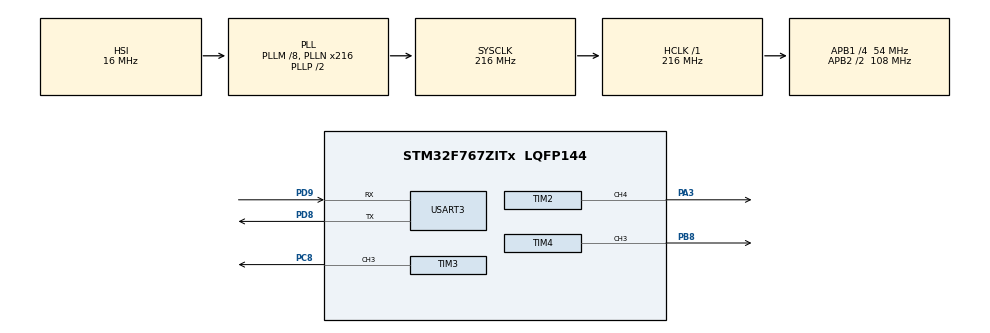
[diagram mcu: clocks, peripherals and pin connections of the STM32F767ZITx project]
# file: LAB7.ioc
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Mcu.Family=STM32F7
Mcu.Name=STM32F767ZITx
Mcu.Package=LQFP144
NVIC.PriorityGroup=NVIC_PRIORITYGROUP_4
PA3.GPIO_Speed=GPIO_SPEED_FREQ_VERY_HIGH
PA3.Signal=S_TIM2_CH4
PB8.GPIO_Speed=GPIO_SPEED_FREQ_VERY_HIGH
PB8.Signal=S_TIM4_CH3
PC8.GPIO_Speed=GPIO_SPEED_FREQ_VERY_HIGH
PC8.Signal=S_TIM3_CH3
PD8.Mode=Asynchronous
PD8.Signal=USART3_TX
PD9.Mode=Asynchronous
PD9.Signal=USART3_RX
ProjectManager.HeapSize=0x200
ProjectManager.StackSize=0x400
ProjectManager.TargetToolchain=STM32CubeIDE
RCC.AHBFreq_Value=216000000
RCC.APB1CLKDivider=RCC_HCLK_DIV4
RCC.APB1Freq_Value=54000000
RCC.APB1TimFreq_Value=108000000
RCC.APB2CLKDivider=RCC_HCLK_DIV2
RCC.APB2Freq_Value=108000000
RCC.APB2TimFreq_Value=216000000
RCC.CortexFreq_Value=216000000
RCC.HCLKFreq_Value=216000000
RCC.HSE_VALUE=25000000
RCC.HSI_VALUE=16000000
RCC.LSE_VALUE=32768
RCC.PLLM=8
RCC.PLLN=216
RCC.SYSCLKFreq_VALUE=216000000
RCC.SYSCLKSource=RCC_SYSCLKSOURCE_PLLCLK
RCC.USBFreq_Value=216000000
RCC.VCOOutputFreq_Value=432000000
SH.S_TIM2_CH4.0=TIM2_CH4,PWM Generation4 CH4
SH.S_TIM3_CH3.0=TIM3_CH3,PWM Generation3 CH3
SH.S_TIM4_CH3.0=TIM4_CH3,PWM Generation3 CH3
TIM2.Channel-PWM\ Generation4\ CH4=TIM_CHANNEL_4
TIM2.Period=10000-1
TIM2.Prescaler=10-1
TIM2.Pulse-PWM\ Generation4\ CH4=10000/4-1
TIM3.Channel-PWM\ Generation3\ CH3=TIM_CHANNEL_3
TIM3.Period=10000-1
TIM3.Prescaler=10-1
TIM3.Pulse-PWM\ Generation3\ CH3=10000/4-1
TIM4.Channel-PWM\ Generation3\ CH3=TIM_CHANNEL_3
TIM4.Period=10000-1
TIM4.Prescaler=10-1
TIM4.Pulse-PWM\ Generation3\ CH3=10000/4-1
USART3.VirtualMode-Asynchronous=VM_ASYNC
VP_TIM2_VS_ClockSourceINT.Mode=Internal
VP_TIM3_VS_ClockSourceINT.Mode=Internal
VP_TIM4_VS_ClockSourceINT.Mode=Internal
board=custom

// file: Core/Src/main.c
/* USER CODE BEGIN Header */
/**
  ******************************************************************************
  * @file           : main.c
  * @brief          : Main program body
  ******************************************************************************
  * @attention
  *
  * Copyright (c) 2023 STMicroelectronics.
  * All rights reserved.
  *
  * This software is licensed under terms that can be found in the LICENSE file
  * in the root directory of this software component.
  * If no LICENSE file comes with this software, it is provided AS-IS.
  *
  ******************************************************************************
  */
/* USER CODE END Header */
#include "main.h"
#include "tim.h"
#include "usart.h"
#include "gpio.h"

/* USER CODE BEGIN Includes */
#include "string.h"
#include "stdio.h"
/* USER CODE END Includes */

/* USER CODE BEGIN PM */
#define print(x) HAL_UART_Transmit(&huart3, (uint8_t*)x, strlen(x),1000)
/* USER CODE END PM */

void SystemClock_Config(void);

/* USER CODE BEGIN 0 */
uint8_t pwm;
float dutyCycleR = 0.0;
float dutyCycleG = 0.0;
float dutyCycleB = 0.0;
uint8_t countR = 0;
uint8_t countG = 0;
uint8_t countB = 0;
char toString[100];

/* USER CODE END 0 */

int main(void)
{

  /* MCU Configuration--------------------------------------------------------*/

  /* Reset of all peripherals, Initializes the Flash interface and the Systick. */
  HAL_Init();

  /* Configure the system clock */
  SystemClock_Config();

  /* Initialize all configured peripherals */
  MX_GPIO_Init();
  MX_USART3_UART_Init();
  MX_TIM3_Init();
  MX_TIM4_Init();
  MX_TIM2_Init();
  /* USER CODE BEGIN 2 */
  HAL_TIM_PWM_Start(&htim2,TIM_CHANNEL_4); //Blue
  HAL_TIM_PWM_Start(&htim3,TIM_CHANNEL_3); //Red
  HAL_TIM_PWM_Start(&htim4,TIM_CHANNEL_3); //Green
  htim2.Instance -> CCR3 = (10000-1) * dutyCycleB;//Blue PWM
  htim3.Instance -> CCR3 = (10000-1) * dutyCycleR;//Red PWM
  htim4.Instance -> CCR3 = (10000-1) * dutyCycleG;//Green PWM

  /* USER CODE END 2 */

  /* Infinite loop */
  while (1)
  {

    /* USER CODE BEGIN 3 */
	  char buffer;
	  print("input => ");
	  while(__HAL_UART_GET_FLAG(&huart3,UART_FLAG_RXNE)==RESET){}//check buffer empty?
	  HAL_UART_Receive(&huart3, (uint8_t*)&buffer, 1,1000);
	  print(&buffer);
	  print("\r\n");

	  if(buffer == 'B' || buffer == 'b')
	  {

		  if(countB < 5)
		  {
			  print("This is BBBBBBBBBBB");
			  dutyCycleB += 0.20;//Blue PWM
			  print(toString);
			  htim2.Instance -> CCR3 = (10000-1) * dutyCycleB;//Blue PWM
			  countB++;
		  }
		  else
		  {
			  countB = 0;
			  dutyCycleB = 0.0;
			  htim2.Instance -> CCR3 = (10000-1) * dutyCycleB;//Blue PWM
		  }
	  }
	  else if(buffer == 'R' || buffer == 'r')
	  {

		  if(countR < 5)
		  		  {
			  print("This is RRRRRRRRRRRRR");
		  			  dutyCycleR += 0.20;//Red PWM
		  			htim3.Instance -> CCR3 = (10000-1) * dutyCycleR;//Red PWM
		  			countR++;
		  		  }
		  		  else
		  		  {
		  			  countR = 0;
		  			dutyCycleR = 0.0;
		  			htim3.Instance -> CCR3 = (10000-1) * dutyCycleR;//Red PWM
		  		  }

	  }
	  else if(buffer == 'G' || buffer == 'g')
	  {
	 	 if(countG < 5)
	 	 		  {
	 		print("This is GGGGGGGGGG");
	 	 			  dutyCycleG += 0.20;//Green PWM
	 	 			htim4.Instance -> CCR3 = (10000-1) * dutyCycleG;//Green PWM
	 	 			countG++;

	 	 		  }
	 	 		  else
	 	 		  {
	 	 			  countG = 0;
	 	 			dutyCycleG = 0.0;
	 	 			htim4.Instance -> CCR3 = (10000-1) * dutyCycleG;//Green PWM
	 	 		  }
	  }

	  HAL_Delay(100);

	  pwm=(GPIOB->IDR & GPIO_PIN_15)>>10;
  }
  /* USER CODE END 3 */
}

void SystemClock_Config(void)
{
  RCC_OscInitTypeDef RCC_OscInitStruct = {0};
  RCC_ClkInitTypeDef RCC_ClkInitStruct = {0};

  /** Configure the main internal regulator output voltage
  */
  __HAL_RCC_PWR_CLK_ENABLE();
  __HAL_PWR_VOLTAGESCALING_CONFIG(PWR_REGULATOR_VOLTAGE_SCALE1);

  /** Initializes the RCC Oscillators according to the specified parameters
  * in the RCC_OscInitTypeDef structure.
  */
  RCC_OscInitStruct.OscillatorType = RCC_OSCILLATORTYPE_HSI;
  RCC_OscInitStruct.HSIState = RCC_HSI_ON;
  RCC_OscInitStruct.HSICalibrationValue = RCC_HSICALIBRATION_DEFAULT;
  RCC_OscInitStruct.PLL.PLLState = RCC_PLL_ON;
  RCC_OscInitStruct.PLL.PLLSource = RCC_PLLSOURCE_HSI;
  RCC_OscInitStruct.PLL.PLLM = 8;
  RCC_OscInitStruct.PLL.PLLN = 216;
  RCC_OscInitStruct.PLL.PLLP = RCC_PLLP_DIV2;
  RCC_OscInitStruct.PLL.PLLQ = 2;
  RCC_OscInitStruct.PLL.PLLR = 2;
  if (HAL_RCC_OscConfig(&RCC_OscInitStruct) != HAL_OK)
  {
    Error_Handler();
  }

  /** Activate the Over-Drive mode
  */
  if (HAL_PWREx_EnableOverDrive() != HAL_OK)
  {
    Error_Handler();
  }

  /** Initializes the CPU, AHB and APB buses clocks
  */
  RCC_ClkInitStruct.ClockType = RCC_CLOCKTYPE_HCLK|RCC_CLOCKTYPE_SYSCLK
                              |RCC_CLOCKTYPE_PCLK1|RCC_CLOCKTYPE_PCLK2;
  RCC_ClkInitStruct.SYSCLKSource = RCC_SYSCLKSOURCE_PLLCLK;
  RCC_ClkInitStruct.AHBCLKDivider = RCC_SYSCLK_DIV1;
  RCC_ClkInitStruct.APB1CLKDivider = RCC_HCLK_DIV4;
  RCC_ClkInitStruct.APB2CLKDivider = RCC_HCLK_DIV2;

  if (HAL_RCC_ClockConfig(&RCC_ClkInitStruct, FLASH_LATENCY_7) != HAL_OK)
  {
    Error_Handler();
  }
}

void Error_Handler(void)
{
  __disable_irq();
  while (1)
  {
  }
}
